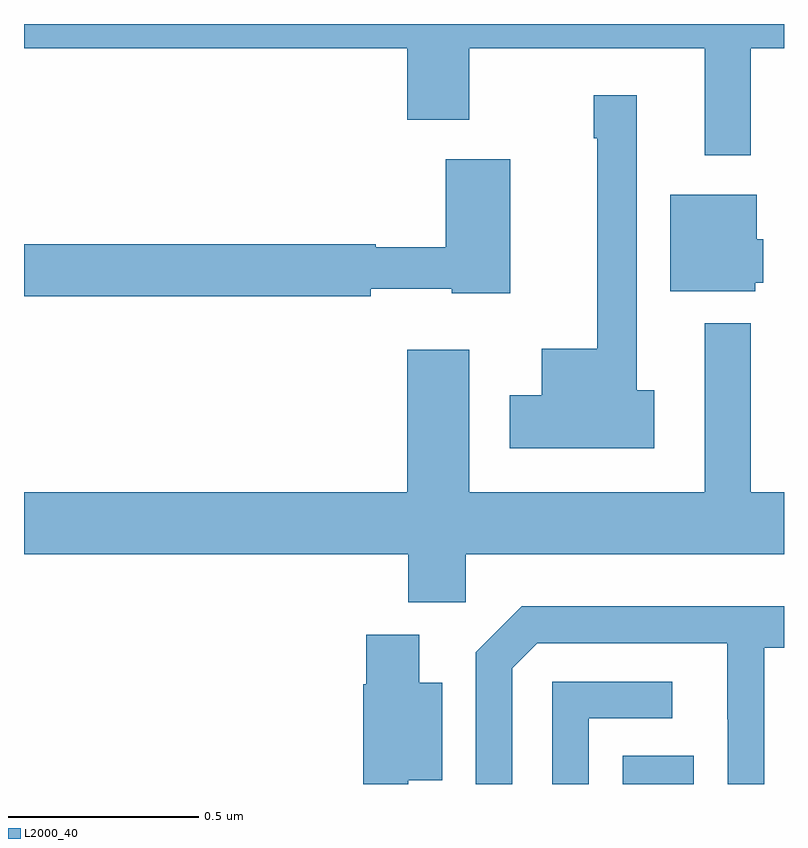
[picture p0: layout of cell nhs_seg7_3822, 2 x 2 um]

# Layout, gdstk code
import gdstk
lib = gdstk.Library(unit=1e-6, precision=1e-09)
def R(c, l, rs):  # rectangles x0, y0, x1, y1
    for r in rs: c.add(gdstk.rectangle(r[:2], r[2:], *l))
def P(c, l, *ps):  # polygons
    for p in ps: c.add(gdstk.Polygon(p, *l))
L2000_40 = (2000, 40)

nhs_seg7_3822 = lib.new_cell('nhs_seg7_3822')
R(nhs_seg7_3822, L2000_40, [(165.575,1012,165.763,1012.075)])
P(nhs_seg7_3822, L2000_40, [(165.913,1013.936),(166,1013.936),(166,1014),(164,1014),(164,1013.936),(165.008,1013.936),(165.008,1013.748),(165.172,1013.748),(165.172,1013.936),(165.791,1013.936),(165.791,1013.655),(165.913,1013.655)],
  [(165.658,1013.036),(165.613,1013.036),(165.613,1013.812),(165.499,1013.812),(165.499,1013.699),(165.509,1013.699),(165.509,1013.146),(165.362,1013.146),(165.362,1013.023),(165.278,1013.023),(165.278,1012.883),(165.658,1012.883)],
  [(164.912,1013.303),(165.126,1013.303),(165.126,1013.291),(165.28,1013.291),(165.28,1013.644),(165.11,1013.644),(165.11,1013.413),(164.926,1013.413),(164.926,1013.42),(164,1013.42),(164,1013.284),(164.912,1013.284)],
  [(165.924,1013.319),(165.946,1013.319),(165.946,1013.433),(165.928,1013.433),(165.928,1013.551),(165.701,1013.551),(165.701,1013.297),(165.924,1013.297)],
  [(165.162,1012.604),(166,1012.604),(166,1012.768),(165.913,1012.768),(165.913,1013.212),(165.791,1013.212),(165.791,1012.768),(165.172,1012.768),(165.172,1013.143),(165.008,1013.143),(165.008,1012.768),(164,1012.768),(164,1012.604),(165.011,1012.604),(165.011,1012.478),(165.162,1012.478)],
  [(165.285,1012.305),(165.351,1012.371),(165.851,1012.371),(165.851,1012.171),(165.852,1012.171),(165.852,1012),(165.948,1012),(165.948,1012.358),(166,1012.358),(166,1012.468),(165.31,1012.468),(165.189,1012.347),(165.189,1012),(165.285,1012)],
  [(165.011,1012.01),(165.1,1012.01),(165.1,1012.267),(165.04,1012.267),(165.04,1012.393),(164.9,1012.393),(164.9,1012.263),(164.893,1012.263),(164.893,1012),(165.011,1012)],
  [(165.486,1012.173),(165.706,1012.173),(165.706,1012.269),(165.39,1012.269),(165.39,1012),(165.486,1012)])

lib.write_gds('nhs_seg7_3822.gds')
